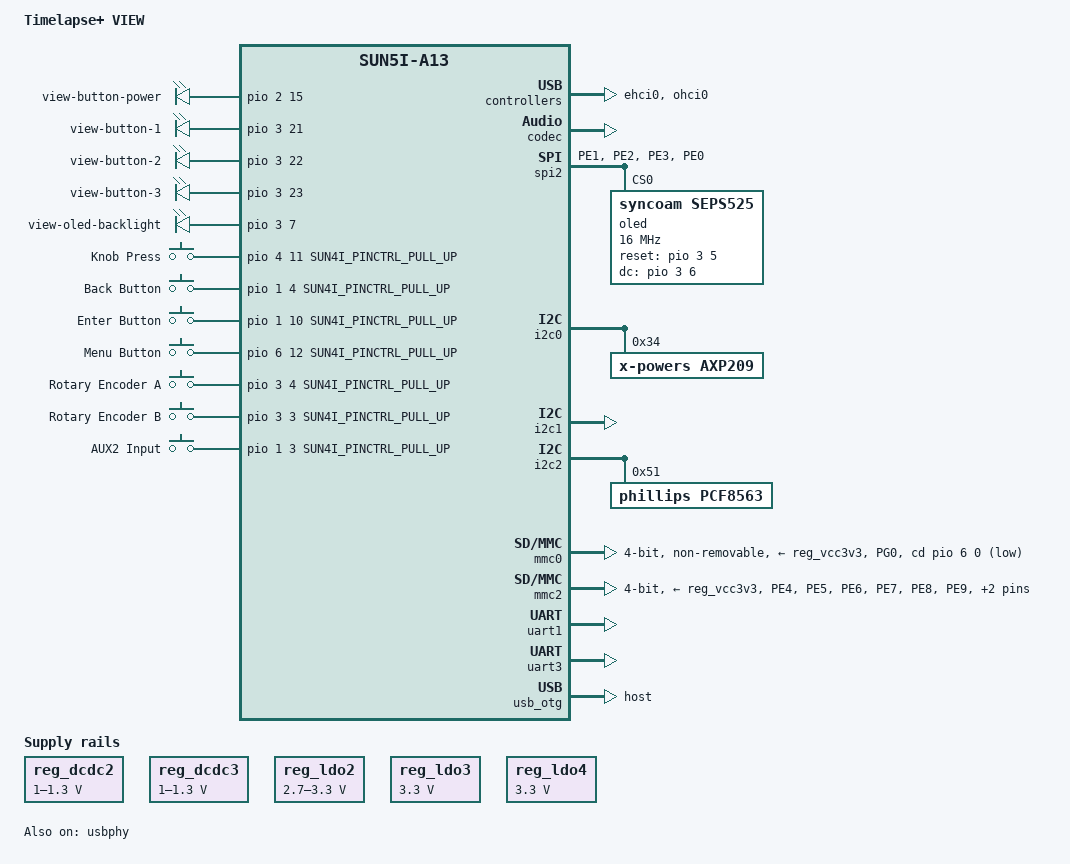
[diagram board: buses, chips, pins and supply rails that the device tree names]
/*
 * Copyright 2012 Maxime Ripard <maxime.ripard@free-electrons.com>
 * Copyright 2013 Hans de Goede <hdegoede@redhat.com>
 *
 * This file is dual-licensed: you can use it either under the terms
 * of the GPL or the X11 license, at your option. Note that this dual
 * licensing only applies to this file, and not this project as a
 * whole.
 *
 *  a) This file is free software; you can redistribute it and/or
 *     modify it under the terms of the GNU General Public License as
 *     published by the Free Software Foundation; either version 2 of the
 *     License, or (at your option) any later version.
 *
 *     This file is distributed in the hope that it will be useful,
 *     but WITHOUT ANY WARRANTY; without even the implied warranty of
 *     MERCHANTABILITY or FITNESS FOR A PARTICULAR PURPOSE.  See the
 *     GNU General Public License for more details.
 *
 * Or, alternatively,
 *
 *  b) Permission is hereby granted, free of charge, to any person
 *     obtaining a copy of this software and associated documentation
 *     files (the "Software"), to deal in the Software without
 *     restriction, including without limitation the rights to use,
 *     copy, modify, merge, publish, distribute, sublicense, and/or
 *     sell copies of the Software, and to permit persons to whom the
 *     Software is furnished to do so, subject to the following
 *     conditions:
 *
 *     The above copyright notice and this permission notice shall be
 *     included in all copies or substantial portions of the Software.
 *
 *     THE SOFTWARE IS PROVIDED "AS IS", WITHOUT WARRANTY OF ANY KIND,
 *     EXPRESS OR IMPLIED, INCLUDING BUT NOT LIMITED TO THE WARRANTIES
 *     OF MERCHANTABILITY, FITNESS FOR A PARTICULAR PURPOSE AND
 *     NONINFRINGEMENT. IN NO EVENT SHALL THE AUTHORS OR COPYRIGHT
 *     HOLDERS BE LIABLE FOR ANY CLAIM, DAMAGES OR OTHER LIABILITY,
 *     WHETHER IN AN ACTION OF CONTRACT, TORT OR OTHERWISE, ARISING
 *     FROM, OUT OF OR IN CONNECTION WITH THE SOFTWARE OR THE USE OR
 *     OTHER DEALINGS IN THE SOFTWARE.
 */

/dts-v1/;
#include "sun5i-a13.dtsi"
#include "sunxi-common-regulators.dtsi"

#include <dt-bindings/gpio/gpio.h>
#include <dt-bindings/pinctrl/sun4i-a10.h>
#include <dt-bindings/interrupt-controller/irq.h>

/ {
	model = "Timelapse+ VIEW";
	compatible = "timelapseplus,view", "allwinner,sun5i-a13";

	aliases {
		i2c0 = &i2c0;
		i2c2 = &i2c2;
		serial0 = &uart1;
		serial1 = &uart3;
	};

	chosen {
		stdout-path = "serial0:115200n8";
	};

	leds {
		compatible = "gpio-leds";
		pinctrl-names = "default";
		pinctrl-0 = <&led_pins_view>;

		power-button {
			label = "view-button-power";
			gpios = <&pio 2 15 GPIO_ACTIVE_HIGH>;
			default-state = "on";
		};
		button1 {
			label = "view-button-1";
			gpios = <&pio 3 21 GPIO_ACTIVE_HIGH>;
			default-state = "off";
		};
		button2 {
			label = "view-button-2";
			gpios = <&pio 3 22 GPIO_ACTIVE_HIGH>;
			default-state = "off";
		};
		button3 {
			label = "view-button-3";
			gpios = <&pio 3 23 GPIO_ACTIVE_HIGH>;
			default-state = "off";
		};
		oled-power {
			label = "view-oled-backlight";
			gpios = <&pio 3 7 GPIO_ACTIVE_HIGH>;
			default-state = "on";
		};
	};

	button-knob {
		compatible = "gpio-keys-polled";
		pinctrl-names = "default";
		pinctrl-0 = <&button_pins>;
		poll-interval = <50>;
	
		button@4 {
			label = "Knob Press";
			linux,code = <4>;
			gpios = <&pio 4 11 SUN4I_PINCTRL_PULL_UP>;
		};

		button@1 {
			label = "Back Button";
			linux,code = <1>;
			gpios = <&pio 1 4 SUN4I_PINCTRL_PULL_UP>;
		};

		button@2 {
			label = "Enter Button";
			linux,code = <2>;
			gpios = <&pio 1 10 SUN4I_PINCTRL_PULL_UP>;
		};

		button@3 {
			label = "Menu Button";
			linux,code = <3>;
			gpios = <&pio 6 12 SUN4I_PINCTRL_PULL_UP>;
		};

	};

	knob {
		compatible = "gpio-keys-polled";
		pinctrl-names = "default";
		pinctrl-0 = <&knob_pins>;
		poll-interval = <1>;
		debounce-interval = <1>;

		a {
			label = "Rotary Encoder A";
			linux,code = <7>;
			gpios = <&pio 3 4 SUN4I_PINCTRL_PULL_UP>;
		};

		b {
			label = "Rotary Encoder B";
			linux,code = <8>;
			gpios = <&pio 3 3 SUN4I_PINCTRL_PULL_UP>;
		};
	};

	input-aux2 {
		compatible = "gpio-keys-polled";
		pinctrl-names = "default";
		pinctrl-0 = <&auxinput_pins>;
		poll-interval = <50>;	

		aux@2 {
			label = "AUX2 Input";
			linux,code = <9>;
			gpios = <&pio 1 3 SUN4I_PINCTRL_PULL_UP>;
		};
	};

};

&cpu0 {
	cpu-supply = <&reg_dcdc2>;
	clock-latency = <244144>; /* 8 32k periods */
	operating-points = <
		/* kHz	  uV */
		624000	1200000
		576000	1200000
		528000	1200000
		432000	1200000
		384000	1200000
		>;
	#cooling-cells = <2>;
	cooling-min-level = <0>;
	cooling-max-level = <5>;
};

&ehci0 {
	status = "okay";
};

&codec {
	status = "okay";
};

&spi2 {
	pinctrl-names = "default";
	pinctrl-0 = <&spi2_pins_a>, <&spi2_cs0_pins_a>;

	status = "okay";

	oled@0{
		#address-cells = <1>;
		#size-cells = <0>;
		compatible = "syncoam,seps525";
		pinctrl-names = "default";
		pinctrl-0 = <&oled_pins_a>;
		reg = <0>;
		status = "ok";

		spi-max-frequency = <16000000>;
		rotate = <0>;
		fps = <50>;
		buswidth = <8>;
		txbuflen = <64000>;
		reset-gpios = <&pio 3 5 GPIO_ACTIVE_HIGH>; /* PD5 */
		dc-gpios = <&pio 3 6 GPIO_ACTIVE_HIGH>; /* PD6 */
		debug = <1>;
	};
};

&i2c0 {
	pinctrl-names = "default";
	pinctrl-0 = <&i2c0_pins_a>;
	status = "okay";

	axp209: pmic@34 {
		compatible = "x-powers,axp209";
		reg = <0x34>;

		interrupts = <0>;

		interrupt-controller;
		#interrupt-cells = <1>;
	};
};

#include "axp209.dtsi"

&i2c1 {
	pinctrl-names = "default";
	pinctrl-0 = <&i2c1_pins_a>;
	status = "okay";
};

&i2c2 {
	pinctrl-names = "default";
	pinctrl-0 = <&i2c2_pins_a>;
	status = "okay";

	pcf8563: gpio@51 {
		compatible = "phillips,pcf8563";
		reg = <0x51>;

		gpio-controller;
		#gpio-cells = <2>;

		/*interrupt-parent = <&pio>;
		interrupts = <6 0 IRQ_TYPE_EDGE_FALLING>;
		interrupt-controller;
		#interrupt-cells = <2>;*/
	};
};


&reg_dcdc2 {
	regulator-min-microvolt = <1000000>;
	regulator-max-microvolt = <1300000>;
	regulator-name = "cpuvdd";
	regulator-always-on;
};

&reg_dcdc3 {
	regulator-min-microvolt = <1000000>;
	regulator-max-microvolt = <1300000>;
	regulator-name = "corevdd";
	regulator-always-on;
};

&reg_ldo1 {
	regulator-name = "rtcvdd";
	status = "okay";
};

&reg_ldo2 {
	regulator-min-microvolt = <2700000>;
	regulator-max-microvolt = <3300000>;
	regulator-name = "avcc";
	regulator-always-on;
};

&reg_ldo3 {
	regulator-max-microvolt = <3300000>;
	regulator-min-microvolt = <3300000>;
	regulator-name = "vccwifi";
	regulator-always-on;
};

&reg_ldo4 {
	regulator-max-microvolt = <3300000>;
	regulator-min-microvolt = <3300000>;
	regulator-name = "vccgps";
	regulator-always-on;
	status = "okay";
};

&mmc0 {
	pinctrl-names = "default";
	pinctrl-0 = <&mmc0_pins_a>, <&mmc0_cd_pin_view>;
	vmmc-supply = <&reg_vcc3v3>;
	bus-width = <4>;
	cd-gpios = <&pio 6 0 GPIO_ACTIVE_HIGH>; /* PG0 */
	cd-inverted;
	non-removable;
	status = "okay";
};

&mmc2 {
	vmmc-supply = <&reg_vcc3v3>;
	vqmmc-supply = <&reg_vcc3v3>;
	pinctrl-names = "default";
	compatible = "allwinner,sun5i-a13-mmc";
	pinctrl-0 = <&mmc_sdio_pins>,  <&mmc2_cd_pin_view>;
	bus-width = <4>;
	clocks = <&ahb_gates 10>,<&mmc2_clk 0>,<&mmc2_clk 1>,<&mmc2_clk 2>;
	status = "okay";
	cd-gpios = <&pio 6 2 GPIO_ACTIVE_HIGH>; /* PG2 */
	cd-inverted;
	broken-cd;
};

&ohci0 {
	status = "okay";
};

&otg_sram {
	status = "okay";
};

&pio {
	mmc0_cd_pin_view: mmc0_cd_pin@0 {
		allwinner,pins = "PG0";
		allwinner,function = "gpio_in";
		allwinner,drive = <SUN4I_PINCTRL_10_MA>;
		allwinner,pull = <SUN4I_PINCTRL_PULL_UP>;
	};

	mmc2_cd_pin_view: mmc2_cd_pin@0 {
		allwinner,pins = "PG2";
		allwinner,function = "gpio_in";
		allwinner,drive = <SUN4I_PINCTRL_10_MA>;
		allwinner,pull = <SUN4I_PINCTRL_PULL_UP>;
	};

	mmc_sdio_pins: mmc2@42 {
		allwinner,pins = "PE4", "PE5", "PE6", "PE7", "PE8", "PE9";
		allwinner,function = "mmc2";
		allwinner,drive = <SUN4I_PINCTRL_30_MA>;
		allwinner,pull = <SUN4I_PINCTRL_PULL_UP>;	
	};

	led_pins_view: led_pins@0 {
		allwinner,pins = "PC15", "PD7", "D21", "D22", "D23";
		allwinner,function = "gpio_out";
		allwinner,drive = <SUN4I_PINCTRL_10_MA>;
		allwinner,pull = <SUN4I_PINCTRL_PULL_UP>;
	};

	wake_wifi: wifi_wake_pin@0 {
		allwinner,pins = "PD2";
		allwinner,function = "gpio_out";
		allwinner,drive = <SUN4I_PINCTRL_10_MA>;
		allwinner,pull = <SUN4I_PINCTRL_PULL_DOWN>;
	};

	wifi_wow: wifi_wow_pin@0 {
		allwinner,pins = "PG1";
		allwinner,function = "gpio_in";
		allwinner,drive = <SUN4I_PINCTRL_10_MA>;
		allwinner,pull = <SUN4I_PINCTRL_PULL_DOWN>;
	};

	usb1_vbus_pin_view: usb1_vbus_pin@0 {
		allwinner,pins = "PG11";
		allwinner,function = "gpio_out";
		allwinner,drive = <SUN4I_PINCTRL_10_MA>;
		allwinner,pull = <SUN4I_PINCTRL_NO_PULL>;
	};

	spi2_pins_a: spi2@0 {
		allwinner,pins = "PE1", "PE2", "PE3";
		allwinner,function = "spi2";
		allwinner,drive = <SUN4I_PINCTRL_10_MA>;
		allwinner,pull = <SUN4I_PINCTRL_NO_PULL>;
	};

	spi2_cs0_pins_a: spi2_cs0@0 {
		allwinner,pins = "PE0";
		allwinner,function = "spi2";
		allwinner,drive = <SUN4I_PINCTRL_10_MA>;
		allwinner,pull = <SUN4I_PINCTRL_NO_PULL>;
	};

	oled_pins_a: oled@0 {
		allwinner,pins = "PD5", "PD6", "PD7";
		allwinner,function = "gpio_out";
		allwinner,drive = <SUN4I_PINCTRL_20_MA>;
		allwinner,pull = <SUN4I_PINCTRL_NO_PULL>;
	};

	button_pins: gpio_pins@0 {
		allwinner,pins = "PE11", "PB4", "PB10", "PG12", "PC3";
		allwinner,function = "gpio_in";
		allwinner,drive = <SUN4I_PINCTRL_10_MA>;
		allwinner,pull = <SUN4I_PINCTRL_PULL_UP>;
	};

	knob_pins: gpio_knob@0 {
		allwinner,pins = "PD4", "PD3";
		allwinner,function = "gpio_in";
		allwinner,drive = <SUN4I_PINCTRL_10_MA>;
		allwinner,pull = <SUN4I_PINCTRL_PULL_UP>;
	};

	auxinput_pins: gpio_input@0 {
		allwinner,pins = "PD18", "PB3", "PB2", "PB3", "PC5";
		allwinner,function = "gpio_in";
		allwinner,drive = <SUN4I_PINCTRL_10_MA>;
		allwinner,pull = <SUN4I_PINCTRL_PULL_UP>;
	};

	auxoutput_pins: gpio_output@0 {
		allwinner,pins = "PD14", "PD15", "PD19", "PD20";
		allwinner,function = "gpio_out";
		allwinner,drive = <SUN4I_PINCTRL_10_MA>;
		allwinner,pull = <SUN4I_PINCTRL_PULL_DOWN>;
	};
};

&reg_usb1_vbus {
	pinctrl-names = "default";
	pinctrl-0 = <&usb1_vbus_pin_view>;
	gpio = <&pio 6 11 GPIO_ACTIVE_HIGH>;
	status = "okay";
};

&uart1 {
	pinctrl-names = "default";
	pinctrl-0 = <&uart1_pins_b>;
	status = "okay";
};

&uart3 {
	pinctrl-names = "default";
	pinctrl-0 = <&uart3_pins_a>;
	status = "okay";
};

&usb_otg {
	dr_mode = "host";
	status = "okay";
};


&usbphy {
	usb0_vbus-supply = <&reg_ldo3>;
	usb1_vbus-supply = <&reg_usb1_vbus>;
	status = "okay";
};

&usb_power_supply {
	status = "okay";
};
